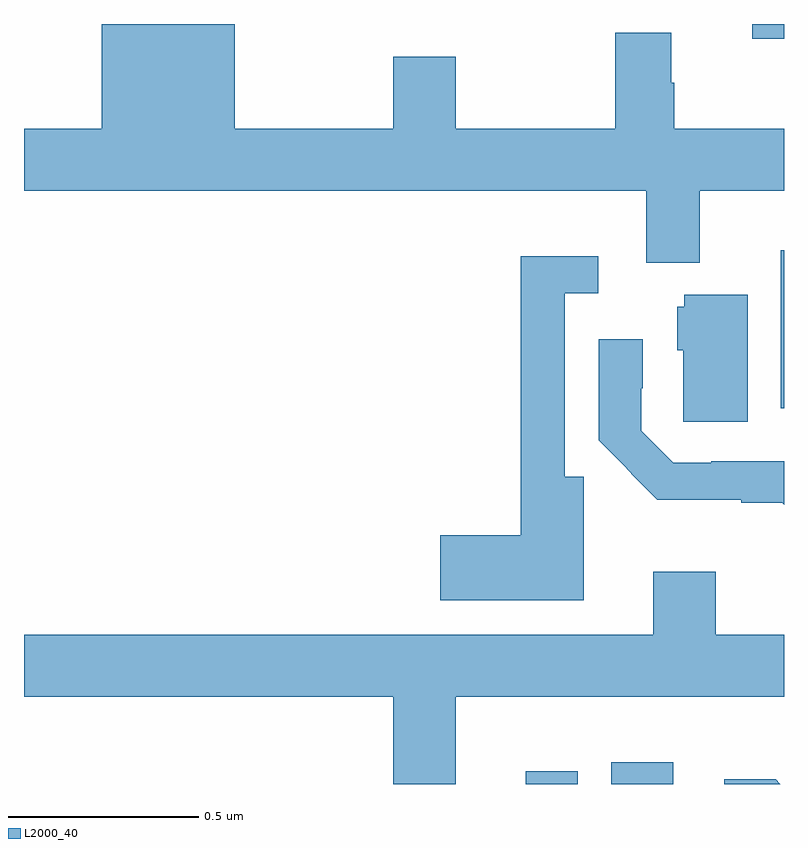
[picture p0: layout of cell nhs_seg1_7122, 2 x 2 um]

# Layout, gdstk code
import gdstk
lib = gdstk.Library(unit=1e-6, precision=1e-09)
def R(c, l, rs):  # rectangles x0, y0, x1, y1
    for r in rs: c.add(gdstk.rectangle(r[:2], r[2:], *l))
def P(c, l, *ps):  # polygons
    for p in ps: c.add(gdstk.Polygon(p, *l))
L2000_40 = (2000, 40)

nhs_seg1_7122 = lib.new_cell('nhs_seg1_7122')
R(nhs_seg1_7122, L2000_40, [(201.32,522.199,201.457,522.232), (201.545,522.199,201.709,522.256), (201.992,523.188,202,523.603), (201.917,524.16,202,524.199)])
P(nhs_seg1_7122, L2000_40, [(201.778,523.76),(202,523.76),(202,523.924),(201.711,523.924),(201.711,524.045),(201.703,524.045),(201.703,524.176),(201.556,524.176),(201.556,523.924),(201.136,523.924),(201.136,524.113),(200.972,524.113),(200.972,523.924),(200.554,523.924),(200.554,524.199),(200.204,524.199),(200.204,523.924),(200,523.924),(200,523.76),(201.638,523.76),(201.638,523.571),(201.778,523.571)],
  [(201.473,523.008),(201.423,523.008),(201.423,523.491),(201.511,523.491),(201.511,523.588),(201.307,523.588),(201.307,522.854),(201.096,522.854),(201.096,522.683),(201.473,522.683)],
  [(201.904,523.486),(201.738,523.486),(201.738,523.455),(201.719,523.455),(201.719,523.341),(201.735,523.341),(201.735,523.152),(201.904,523.152)],
  [(202,523.049),(201.808,523.049),(201.808,523.044),(201.708,523.044),(201.624,523.128),(201.624,523.241),(201.628,523.241),(201.628,523.369),(201.512,523.369),(201.512,523.104),(201.586,523.03),(201.586,523.029),(201.609,523.005),(201.667,522.947),(201.887,522.947),(201.887,522.939),(201.995,522.939),(202,522.934)],
  [(201.136,522.428),(202,522.428),(202,522.592),(201.82,522.592),(201.82,522.757),(201.656,522.757),(201.656,522.592),(200,522.592),(200,522.428),(200.972,522.428),(200.972,522.199),(201.136,522.199)],
  [(201.978,522.211),(201.843,522.211),(201.843,522.199),(201.99,522.199)])

lib.write_gds('nhs_seg1_7122.gds')
